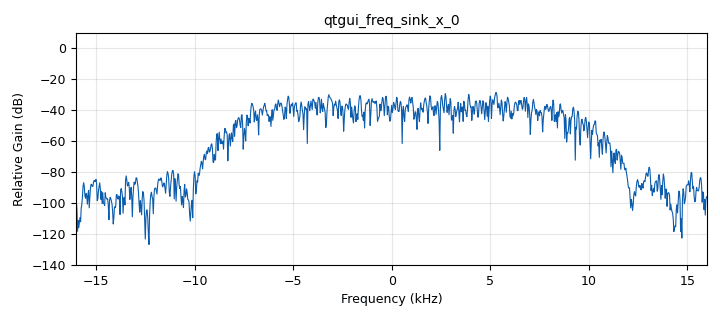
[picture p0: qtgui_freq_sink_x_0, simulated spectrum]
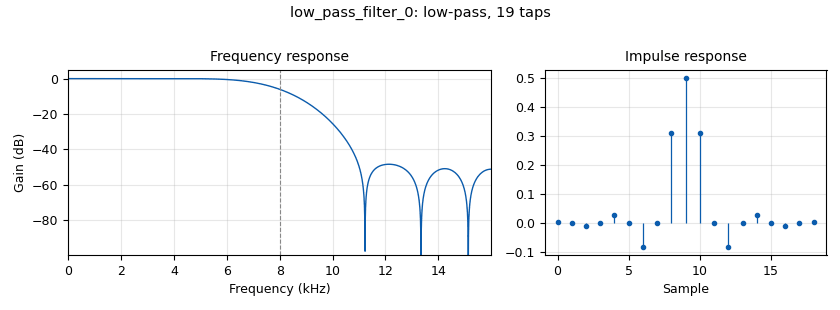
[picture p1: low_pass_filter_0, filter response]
<?xml version='1.0' encoding='utf-8'?>
<?grc format='1' created='3.7.11'?>
<flow_graph>
<block>
<key>options</key>
<param><key>id</key><value>frequencyShifter</value></param>
<param><key>generate_options</key><value>qt_gui</value></param>
<param><key>title</key><value>frequencyShifter</value></param>
</block>
<block>
<key>variable_qtgui_range</key>
<param><key>id</key><value>frequency</value></param>
<param><key>value</key><value>0</value></param>
<param><key>orient</key><value>Qt.Horizontal</value></param>
<param><key>start</key><value>-samp_rate/2</value></param>
<param><key>step</key><value>1</value></param>
<param><key>stop</key><value>samp_rate/2</value></param>
</block>
<block>
<key>variable</key>
<param><key>id</key><value>samp_rate</value></param>
<param><key>value</key><value>32000</value></param>
</block>
<block>
<key>analog_noise_source_x</key>
<param><key>id</key><value>analog_noise_source_x_0</value></param>
<param><key>amp</key><value>1</value></param>
<param><key>noise_type</key><value>analog.GR_GAUSSIAN</value></param>
<param><key>type</key><value>complex</value></param>
<param><key>seed</key><value>0</value></param>
</block>
<block>
<key>analog_sig_source_x</key>
<param><key>id</key><value>analog_sig_source_x_0</value></param>
<param><key>amp</key><value>1</value></param>
<param><key>freq</key><value>1000</value></param>
<param><key>offset</key><value>0</value></param>
<param><key>type</key><value>complex</value></param>
<param><key>samp_rate</key><value>samp_rate</value></param>
<param><key>waveform</key><value>analog.GR_COS_WAVE</value></param>
</block>
<block>
<key>blocks_multiply_xx</key>
<param><key>id</key><value>blocks_multiply_xx_0</value></param>
<param><key>type</key><value>complex</value></param>
</block>
<block>
<key>blocks_throttle</key>
<param><key>id</key><value>blocks_throttle_0</value></param>
<param><key>samples_per_second</key><value>samp_rate</value></param>
<param><key>type</key><value>complex</value></param>
</block>
<block>
<key>low_pass_filter</key>
<param><key>id</key><value>low_pass_filter_0</value></param>
<param><key>cutoff_freq</key><value>samp_rate/4</value></param>
<param><key>decim</key><value>1</value></param>
<param><key>type</key><value>fir_filter_ccf</value></param>
<param><key>gain</key><value>1</value></param>
<param><key>samp_rate</key><value>samp_rate</value></param>
<param><key>width</key><value>samp_rate/8</value></param>
<param><key>win</key><value>firdes.WIN_HAMMING</value></param>
</block>
<block>
<key>qtgui_freq_sink_x</key>
<param><key>id</key><value>qtgui_freq_sink_x_0</value></param>
<param><key>bw</key><value>samp_rate</value></param>
<param><key>fc</key><value>0</value></param>
<param><key>fftsize</key><value>1024</value></param>
<param><key>showports</key><value>True</value></param>
<param><key>type</key><value>complex</value></param>
<param><key>wintype</key><value>firdes.WIN_BLACKMAN_hARRIS</value></param>
</block>
<connection><source_block_id>analog_noise_source_x_0</source_block_id><sink_block_id>low_pass_filter_0</sink_block_id><source_key>0</source_key><sink_key>0</sink_key></connection>
<connection><source_block_id>analog_sig_source_x_0</source_block_id><sink_block_id>blocks_multiply_xx_0</sink_block_id><source_key>0</source_key><sink_key>0</sink_key></connection>
<connection><source_block_id>blocks_multiply_xx_0</source_block_id><sink_block_id>blocks_throttle_0</sink_block_id><source_key>0</source_key><sink_key>0</sink_key></connection>
<connection><source_block_id>blocks_throttle_0</source_block_id><sink_block_id>qtgui_freq_sink_x_0</sink_block_id><source_key>0</source_key><sink_key>0</sink_key></connection>
<connection><source_block_id>low_pass_filter_0</source_block_id><sink_block_id>blocks_multiply_xx_0</sink_block_id><source_key>0</source_key><sink_key>1</sink_key></connection>
</flow_graph>
